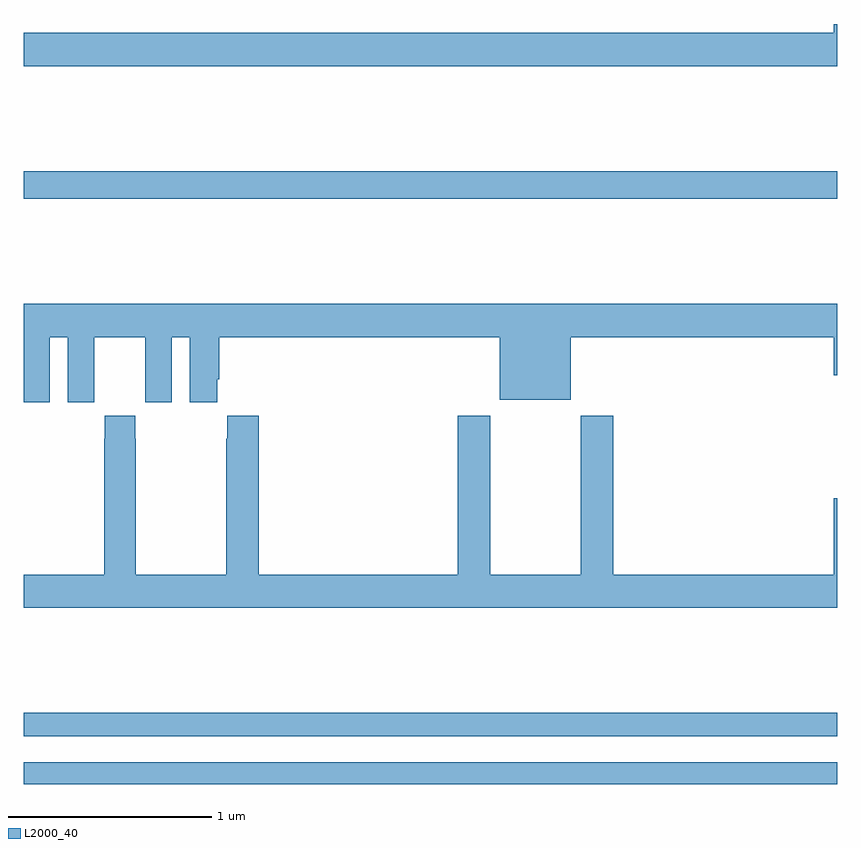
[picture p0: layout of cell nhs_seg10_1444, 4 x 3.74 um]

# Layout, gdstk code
import gdstk
lib = gdstk.Library(unit=1e-6, precision=1e-09)
def R(c, l, rs):  # rectangles x0, y0, x1, y1
    for r in rs: c.add(gdstk.rectangle(r[:2], r[2:], *l))
def P(c, l, *ps):  # polygons
    for p in ps: c.add(gdstk.Polygon(p, *l))
L2000_40 = (2000, 40)

nhs_seg10_1444 = lib.new_cell('nhs_seg10_1444')
R(nhs_seg10_1444, L2000_40, [(185,1320.762,189,1320.87), (185,1320.996,189,1321.112), (185,1323.64,189,1323.776)])
P(nhs_seg10_1444, L2000_40, [(189,1324.5),(188.984,1324.5),(188.984,1324.456),(185,1324.456),(185,1324.292),(189,1324.292)],
  [(185.128,1322.96),(185.216,1322.96),(185.216,1322.64),(185.346,1322.64),(185.346,1322.752),(185.347,1322.752),(185.347,1322.96),(185.597,1322.96),(185.597,1322.752),(185.598,1322.752),(185.598,1322.64),(185.728,1322.64),(185.728,1322.96),(185.816,1322.96),(185.816,1322.64),(185.95,1322.64),(185.95,1322.752),(185.96,1322.752),(185.96,1322.96),(187.34,1322.96),(187.34,1322.651),(187.69,1322.651),(187.69,1322.96),(188.984,1322.96),(188.984,1322.772),(189,1322.772),(189,1323.124),(185,1323.124),(185,1322.64),(185.128,1322.64)],
  [(189,1322.167),(188.984,1322.167),(188.984,1321.792),(187.898,1321.792),(187.898,1322.572),(187.738,1322.572),(187.738,1321.792),(187.293,1321.792),(187.293,1322.572),(187.133,1322.572),(187.133,1321.792),(186.155,1321.792),(186.155,1322.572),(186.001,1322.572),(186.001,1322.459),(185.995,1322.459),(185.995,1321.792),(185.55,1321.792),(185.55,1322.459),(185.547,1322.459),(185.547,1322.572),(185.397,1322.572),(185.397,1322.459),(185.395,1322.459),(185.395,1321.792),(185,1321.792),(185,1321.628),(189,1321.628)])

lib.write_gds('nhs_seg10_1444.gds')
